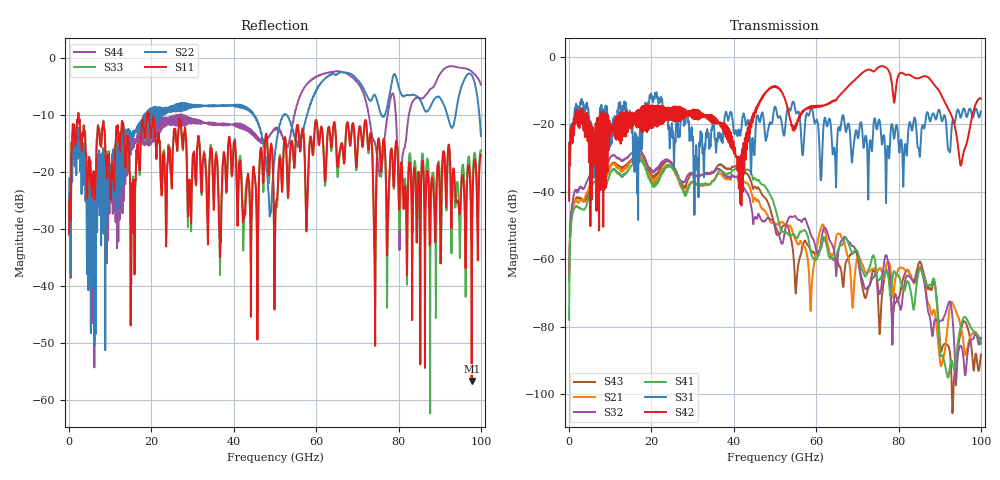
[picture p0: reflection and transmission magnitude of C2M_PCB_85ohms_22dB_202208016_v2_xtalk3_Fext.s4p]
! Info: Touchstone file created by Circ.  Input file=Intel_C2M_200G_8p5in_202208016_staggered.circ
# Hz S RI R 50
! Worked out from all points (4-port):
!   10000 points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, 10 MHz to 100 GHz, reference 50 ohm
!   strongest paths, dB at 10 MHz, 25.01 GHz, 50.01 GHz, 75.01 GHz, 100 GHz:
!     S42: -42.6, -18.8, -9.1, -3.3, -12.5
!     S31: -42.7, -20.6, -14.9, -19.8, -16.2
!     S41: -78.0, -33.0, -44.6, -66.0, -85.0
!     S32: -60.7, -32.0, -49.8, -68.1, -83.3
!     S21: -63.8, -33.0, -49.4, -63.2, -84.7
!     S43: -66.4, -31.9, -50.8, -71.5, -88.3
!   lowest |S11| = -56.6 dB at 97.76 GHz (marker M1), VSWR 1.00, Z = 50.1 - j0.0533 ohm
!   |S11| at or under -10 dB: start of sweep to 2.182 GHz; 2.293 GHz to 18.95 GHz (16.66 GHz wide, 157 % of centre); 19.39 GHz to end of sweep
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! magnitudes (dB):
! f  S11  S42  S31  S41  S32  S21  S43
! 10 MHz  -30.8  -42.6  -42.7  -78.0  -60.7  -63.8  -66.4
! 6.23 GHz  -24.5  -28.0  -26.0  -37.0  -32.3  -35.1  -35.0
! 40.79 GHz  -26.4  -30.3  -22.6  -33.0  -35.8  -35.5  -32.3
! 55.13 GHz  -13.3  -19.7  -16.8  -53.7  -47.6  -54.5  -69.3
! 80.34 GHz  -22.2  -5.0  -27.0  -65.6  -74.2  -62.4  -70.4
! 97.76 GHz  -56.6  -18.3  -17.0  -80.6  -83.8  -82.2  -86.6
! 100 GHz  -16.9  -12.5  -16.2  -85.0  -83.3  -84.7  -88.3
